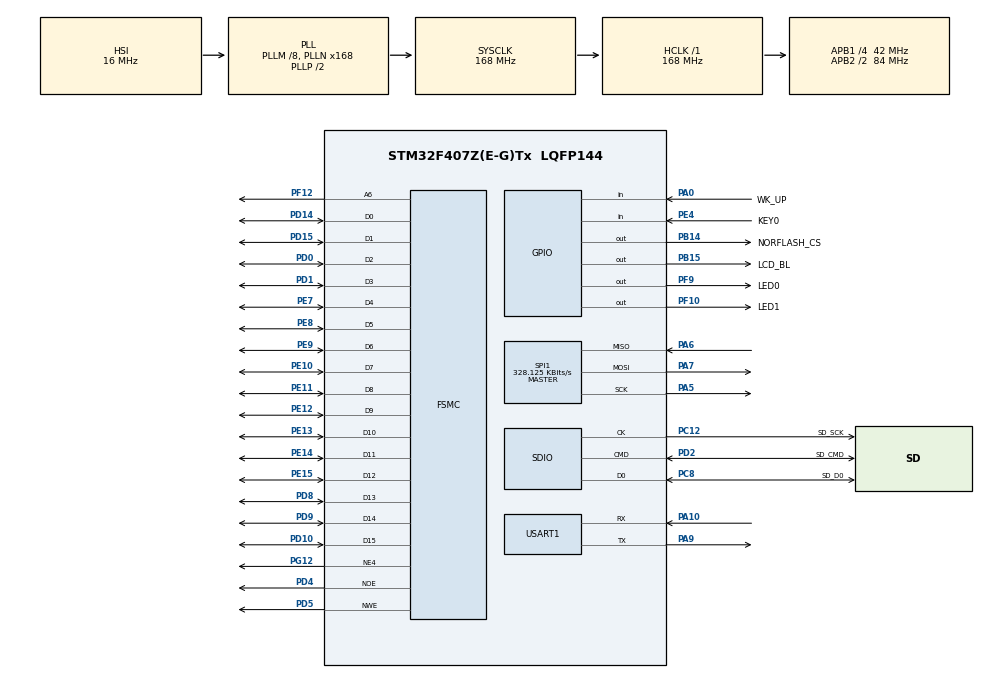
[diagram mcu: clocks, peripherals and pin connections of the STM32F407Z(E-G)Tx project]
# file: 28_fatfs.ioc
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FATFS._CODE_PAGE=936
FATFS._USE_LABEL=1
FATFS._USE_LFN=3
FATFS._VOLUMES=2
FSMC.AddressSetupTime1=15
FSMC.BusTurnAroundDuration1=0
FSMC.DataSetupTime1=60
FSMC.ExtendedAddressSetupTime1=9
FSMC.ExtendedBusTurnAroundDuration1=0
FSMC.ExtendedDataSetupTime1=9
FSMC.ExtendedMode1=FSMC_EXTENDED_MODE_ENABLE
Mcu.Family=STM32F4
Mcu.Name=STM32F407Z(E-G)Tx
Mcu.Package=LQFP144
NVIC.PriorityGroup=NVIC_PRIORITYGROUP_2
NVIC.SPI1_IRQn=true\:0\:0\:false\:false\:true\:true\:true\:true
NVIC.TIM4_IRQn=true\:2\:1\:true\:false\:true\:true\:true\:true
NVIC.USART1_IRQn=true\:2\:2\:true\:false\:true\:true\:true\:true
PA0-WKUP.GPIO_Label=WK_UP
PA0-WKUP.GPIO_PuPd=GPIO_PULLDOWN
PA0-WKUP.Signal=GPIO_Input
PA10.GPIO_PuPd=GPIO_PULLUP
PA10.Mode=Asynchronous
PA10.Signal=USART1_RX
PA13.Mode=Serial_Wire
PA13.Signal=SYS_JTMS-SWDIO
PA14.Mode=Serial_Wire
PA14.Signal=SYS_JTCK-SWCLK
PA5.Mode=Full_Duplex_Master
PA5.Signal=SPI1_SCK
PA6.Mode=Full_Duplex_Master
PA6.Signal=SPI1_MISO
PA7.Mode=Full_Duplex_Master
PA7.Signal=SPI1_MOSI
PA9.GPIO_PuPd=GPIO_PULLUP
PA9.Mode=Asynchronous
PA9.Signal=USART1_TX
PB14.GPIO_Label=NORFLASH_CS
PB14.GPIO_PuPd=GPIO_PULLUP
PB14.GPIO_Speed=GPIO_SPEED_FREQ_VERY_HIGH
PB14.PinState=GPIO_PIN_SET
PB14.Signal=GPIO_Output
PB15.GPIO_Label=LCD_BL
PB15.GPIO_PuPd=GPIO_PULLUP
PB15.GPIO_Speed=GPIO_SPEED_FREQ_VERY_HIGH
PB15.PinState=GPIO_PIN_SET
PB15.Signal=GPIO_Output
PC10.GPIO_Label=SD_D2
PC10.GPIO_PuPd=GPIO_PULLUP
PC10.Signal=SDIO_D2
PC11.GPIO_Label=SD_D3
PC11.GPIO_PuPd=GPIO_PULLUP
PC11.Signal=SDIO_D3
PC12.GPIO_Label=SD_SCK
PC12.GPIO_PuPd=GPIO_PULLUP
PC12.Mode=SD_1_bit
PC12.Signal=SDIO_CK
PC14-OSC32_IN.Mode=LSE-External-Oscillator
PC14-OSC32_IN.Signal=RCC_OSC32_IN
PC15-OSC32_OUT.Mode=LSE-External-Oscillator
PC15-OSC32_OUT.Signal=RCC_OSC32_OUT
PC8.GPIO_Label=SD_D0
PC8.GPIO_PuPd=GPIO_PULLUP
PC8.Mode=SD_1_bit
PC8.Signal=SDIO_D0
PC9.GPIO_Label=SD_D1
PC9.GPIO_PuPd=GPIO_PULLUP
PC9.Signal=SDIO_D1
PD0.Signal=FSMC_D2_DA2
PD1.Signal=FSMC_D3_DA3
PD10.Signal=FSMC_D15_DA15
PD14.Signal=FSMC_D0_DA0
PD15.Signal=FSMC_D1_DA1
PD2.GPIO_Label=SD_CMD
PD2.GPIO_PuPd=GPIO_PULLUP
PD2.Mode=SD_1_bit
PD2.Signal=SDIO_CMD
PD4.Signal=FSMC_NOE
PD5.Signal=FSMC_NWE
PD8.Signal=FSMC_D13_DA13
PD9.Signal=FSMC_D14_DA14
PE10.Signal=FSMC_D7_DA7
PE11.Signal=FSMC_D8_DA8
PE12.Signal=FSMC_D9_DA9
PE13.Signal=FSMC_D10_DA10
PE14.Signal=FSMC_D11_DA11
PE15.Signal=FSMC_D12_DA12
PE4.GPIO_Label=KEY0
PE4.GPIO_PuPd=GPIO_PULLDOWN
PE4.Signal=GPIO_Input
PE7.Signal=FSMC_D4_DA4
PE8.Signal=FSMC_D5_DA5
PE9.Signal=FSMC_D6_DA6
PF10.GPIO_Label=LED1
PF10.GPIO_PuPd=GPIO_PULLDOWN
PF10.GPIO_Speed=GPIO_SPEED_FREQ_VERY_HIGH
PF10.PinState=GPIO_PIN_SET
PF10.Signal=GPIO_Output
PF12.Signal=FSMC_A6
PF9.GPIO_Label=LED0
PF9.GPIO_PuPd=GPIO_PULLDOWN
PF9.GPIO_Speed=GPIO_SPEED_FREQ_VERY_HIGH
PF9.PinState=GPIO_PIN_SET
PF9.Signal=GPIO_Output
PG12.Mode=NorPsramChipSelect4_1
PG12.Signal=FSMC_NE4
PH0-OSC_IN.Mode=HSE-External-Oscillator
PH0-OSC_IN.Signal=RCC_OSC_IN
PH1-OSC_OUT.Mode=HSE-External-Oscillator
PH1-OSC_OUT.Signal=RCC_OSC_OUT
ProjectManager.HeapSize=0x1000
ProjectManager.StackSize=0x400
ProjectManager.TargetToolchain=STM32CubeIDE
RCC.48MHZClocksFreq_Value=48000000
RCC.AHBFreq_Value=168000000
RCC.APB1CLKDivider=RCC_HCLK_DIV4
RCC.APB1Freq_Value=42000000
RCC.APB1TimFreq_Value=84000000
RCC.APB2CLKDivider=RCC_HCLK_DIV2
RCC.APB2Freq_Value=84000000
RCC.APB2TimFreq_Value=168000000
RCC.CortexFreq_Value=168000000
RCC.HCLKFreq_Value=168000000
RCC.HSE_VALUE=25000000
RCC.HSI_VALUE=16000000
RCC.PLLM=8
RCC.PLLN=168
RCC.PLLQ=7
RCC.SYSCLKFreq_VALUE=168000000
RCC.SYSCLKSource=RCC_SYSCLKSOURCE_PLLCLK
RCC.VCOOutputFreq_Value=336000000
SDIO.ClockDiv=0x06
SH.FSMC_A6.0=FSMC_A6,A6_1
SH.FSMC_D0_DA0.0=FSMC_D0,16b-d1
SH.FSMC_D10_DA10.0=FSMC_D10,16b-d1
SH.FSMC_D11_DA11.0=FSMC_D11,16b-d1
SH.FSMC_D12_DA12.0=FSMC_D12,16b-d1
SH.FSMC_D13_DA13.0=FSMC_D13,16b-d1
SH.FSMC_D14_DA14.0=FSMC_D14,16b-d1
SH.FSMC_D15_DA15.0=FSMC_D15,16b-d1
SH.FSMC_D1_DA1.0=FSMC_D1,16b-d1
SH.FSMC_D2_DA2.0=FSMC_D2,16b-d1
SH.FSMC_D3_DA3.0=FSMC_D3,16b-d1
SH.FSMC_D4_DA4.0=FSMC_D4,16b-d1
SH.FSMC_D5_DA5.0=FSMC_D5,16b-d1
SH.FSMC_D6_DA6.0=FSMC_D6,16b-d1
SH.FSMC_D7_DA7.0=FSMC_D7,16b-d1
SH.FSMC_D8_DA8.0=FSMC_D8,16b-d1
SH.FSMC_D9_DA9.0=FSMC_D9,16b-d1
SH.FSMC_NOE.0=FSMC_NOE,Lcd1
SH.FSMC_NWE.0=FSMC_NWE,Lcd1
SPI1.BaudRatePrescaler=SPI_BAUDRATEPRESCALER_256
SPI1.CLKPhase=SPI_PHASE_2EDGE
SPI1.CLKPolarity=SPI_POLARITY_HIGH
SPI1.CalculateBaudRate=328.125 KBits/s
SPI1.Direction=SPI_DIRECTION_2LINES
SPI1.Mode=SPI_MODE_MASTER
SPI1.VirtualType=VM_MASTER
TIM4.AutoReloadPreload=TIM_AUTORELOAD_PRELOAD_ENABLE
TIM4.Period=1000 - 1
TIM4.Prescaler=168 - 1
USART1.VirtualMode=VM_ASYNC
VP_FATFS_VS_Generic.Mode=User_defined
VP_TIM4_VS_ClockSourceINT.Mode=Internal
board=custom

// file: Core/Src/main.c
/* USER CODE BEGIN Header */
/**
 ****************************************************************************************************
 * @file        main.c
 * @author      ALIENTEK
 * @brief       Fatfs code
 * @license     Copyright (C) 2020-2032, ALIENTEK
 ****************************************************************************************************
 * @attention
 *
 * platform     : ALIENTEK M144-STM32F407 board
 * website      : https://www.alientek.com
 * forum        : http://www.openedv.com/forum.php
 *
 * change logs  :
 * version    data    notes
 * V1.0     20240410  the first version
 *
 ****************************************************************************************************
 */
/* USER CODE END Header */
#include "main.h"
#include "fatfs.h"
#include "sdio.h"
#include "spi.h"
#include "tim.h"
#include "usart.h"
#include "gpio.h"
#include "fsmc.h"

/* USER CODE BEGIN Includes */
#include "../../BSP/LED/led.h"
#include "../../BSP/KEY/key.h"
#include "../../BSP/LCD/lcd.h"
#include "../../SYSTEM/delay/delay.h"
#include "../../BSP/NORFLASH/norflash.h"
#include "../../ATK_Middlewares/MALLOC/malloc.h"
#include "../../FatFs/exfuns/exfuns.h"
#include "ff.h"
/* USER CODE END Includes */

void SystemClock_Config(void);

int main(void)
{
  /* USER CODE BEGIN 1 */
    FRESULT res;
    uint32_t total;
    uint32_t free;
  /* USER CODE END 1 */

  /* MCU Configuration--------------------------------------------------------*/

  /* Reset of all peripherals, Initializes the Flash interface and the Systick. */
  HAL_Init();

  /* Configure the system clock */
  SystemClock_Config();

  /* USER CODE BEGIN SysInit */
  delay_init(168);
  /* USER CODE END SysInit */

  /* Initialize all configured peripherals */
  MX_GPIO_Init();
  MX_USART1_UART_Init();
  MX_FSMC_Init();
  MX_TIM4_Init();
  MX_SDIO_SD_Init();
  MX_FATFS_Init();
  MX_SPI1_Init();
  /* USER CODE BEGIN 2 */

  lcd_init();

  my_mem_init(SRAMIN);                /* Initialize the internal SRAM memory pool */
  my_mem_init(SRAMCCM);               /* Initialize the CCM memory pool */

  lcd_show_string(30, 50, 200, 16, 16, "STM32", RED);
  lcd_show_string(30, 70, 200, 16, 16, "FATFS TEST", RED);
  lcd_show_string(30, 90, 200, 16, 16, "ATOM@ALIENTEK", RED);
  lcd_show_string(30, 110, 200, 16, 16, "Use USMART for test", RED);

  while (sd_init() != 0)
  {
      lcd_show_string(30, 130, 200, 16, 16, "SD Card Error!", RED);
      delay_ms(500);
      lcd_show_string(30, 130, 200, 16, 16, "Please Check! ", RED);
      delay_ms(500);
      LED0_TOGGLE();
  }

  exfuns_init();

  /* mount SD card */
  f_mount(fs[0], "0:", 1);

  /* mount NOR Flash, if NOR Flash does not have a file system, it needs to be formatted */
  res = f_mount(fs[1], "1:", 1);
  if (res == FR_NO_FILESYSTEM)
  {
      lcd_show_string(30, 130, 200, 16, 16, "Flash Disk Formatting...", RED);
      res = f_mkfs("1:", 0, 0, 0, _MAX_SS);
      if (res == FR_OK)
      {
          f_setlabel((const TCHAR *)"1:ALIENTEK");
          lcd_show_string(30, 130, 200, 16, 16, "Flash Disk Format Finish", RED);
      }
      else
      {
          lcd_show_string(30, 130, 200, 16, 16, "Flash Disk Format Error ", RED);
      }
      delay_ms(1000);
  }
  lcd_fill(30, 130, 239, 145, WHITE);

  /* Gets the SD card capacity */
  while (exfuns_get_free("0", &total, &free) != 0)
  {
      lcd_show_string(30, 130, 200, 16, 16, "SD Card FatFs Error!", RED);
      delay_ms(200);
      lcd_fill(30, 130, 240, 150 + 16, WHITE);
      delay_ms(200);
      LED0_TOGGLE();
  }

  lcd_show_string(30, 130, 200, 16, 16, "FATFS OK!", BLUE);
  lcd_show_string(30, 150, 200, 16, 16, "SD Total Size:     MB", BLUE);
  lcd_show_string(30, 170, 200, 16, 16, "SD Free Size:     MB", BLUE);
  lcd_show_num(142, 150, total >> 10, 5, 16, BLUE);
  lcd_show_num(134, 170, free >> 10, 5, 16, BLUE);

  /* USER CODE END 2 */

  /* Infinite loop */
  while (1)
  {

      delay_ms(200);
      LED0_TOGGLE();

  }
}

void SystemClock_Config(void)
{
  RCC_OscInitTypeDef RCC_OscInitStruct = {0};
  RCC_ClkInitTypeDef RCC_ClkInitStruct = {0};

  /** Configure the main internal regulator output voltage
  */
  __HAL_RCC_PWR_CLK_ENABLE();
  __HAL_PWR_VOLTAGESCALING_CONFIG(PWR_REGULATOR_VOLTAGE_SCALE1);

  /** Initializes the RCC Oscillators according to the specified parameters
  * in the RCC_OscInitTypeDef structure.
  */
  RCC_OscInitStruct.OscillatorType = RCC_OSCILLATORTYPE_HSI;
  RCC_OscInitStruct.HSIState = RCC_HSI_ON;
  RCC_OscInitStruct.HSICalibrationValue = RCC_HSICALIBRATION_DEFAULT;
  RCC_OscInitStruct.PLL.PLLState = RCC_PLL_ON;
  RCC_OscInitStruct.PLL.PLLSource = RCC_PLLSOURCE_HSI;
  RCC_OscInitStruct.PLL.PLLM = 8;
  RCC_OscInitStruct.PLL.PLLN = 168;
  RCC_OscInitStruct.PLL.PLLP = RCC_PLLP_DIV2;
  RCC_OscInitStruct.PLL.PLLQ = 7;
  if (HAL_RCC_OscConfig(&RCC_OscInitStruct) != HAL_OK)
  {
    Error_Handler();
  }

  /** Initializes the CPU, AHB and APB buses clocks
  */
  RCC_ClkInitStruct.ClockType = RCC_CLOCKTYPE_HCLK|RCC_CLOCKTYPE_SYSCLK
                              |RCC_CLOCKTYPE_PCLK1|RCC_CLOCKTYPE_PCLK2;
  RCC_ClkInitStruct.SYSCLKSource = RCC_SYSCLKSOURCE_PLLCLK;
  RCC_ClkInitStruct.AHBCLKDivider = RCC_SYSCLK_DIV1;
  RCC_ClkInitStruct.APB1CLKDivider = RCC_HCLK_DIV4;
  RCC_ClkInitStruct.APB2CLKDivider = RCC_HCLK_DIV2;

  if (HAL_RCC_ClockConfig(&RCC_ClkInitStruct, FLASH_LATENCY_5) != HAL_OK)
  {
    Error_Handler();
  }
}

void Error_Handler(void)
{
  __disable_irq();
  while (1)
  {
  }
}
